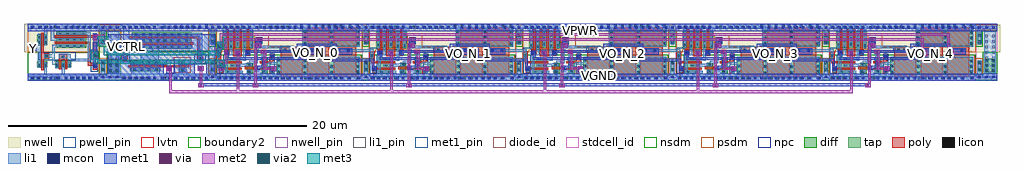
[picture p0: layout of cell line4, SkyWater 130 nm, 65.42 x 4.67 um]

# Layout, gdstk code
from math import pi, radians
import gdstk
lib = gdstk.Library(unit=1e-6, precision=1e-09)
def R(c, l, rs):  # rectangles x0, y0, x1, y1
    for r in rs: c.add(gdstk.rectangle(r[:2], r[2:], *l))
def A(c, l, x, y, w, h, nx, ny, dx, dy):  # array of equal rectangles
    R(c, l, [(x+i*dx, y+j*dy, x+i*dx+w, y+j*dy+h) for i in range(nx) for j in range(ny)])
def P(c, l, *ps):  # polygons
    for p in ps: c.add(gdstk.Polygon(p, *l))
nwell_pin = (64, 16)
nwell = (64, 20)
diff = (65, 20)
tap = (65, 44)
poly = (66, 20)
licon = (66, 44)
li1_pin = (67, 16)
li1 = (67, 20)
mcon = (67, 44)
met1_pin = (68, 16)
met1 = (68, 20)
via = (68, 44)
met2 = (69, 20)
via2 = (69, 44)
met3 = (70, 20)
stdcell_id = (81, 4)
diode_id = (81, 23)
nsdm = (93, 44)
psdm = (94, 20)
npc = (95, 20)
pwell_pin = (122, 16)
lvtn = (125, 44)
boundary2 = (236, 0)

sky130_fd_sc_hs__tapvpwr = lib.new_cell('sky130_fd_sc_hs__tapvpwrvgnd_1')
R(sky130_fd_sc_hs__tapvpwr, nwell, [(-0.19,1.66,0.67,3.52)])
R(sky130_fd_sc_hs__tapvpwr, tap, [(0.155,0.32,0.325,1.145), (0.155,2.17,0.325,3.01)])
R(sky130_fd_sc_hs__tapvpwr, licon, [(0.155,0.44,0.325,0.61), (0.155,0.855,0.325,1.025), (0.155,2.29,0.325,2.46), (0.155,2.72,0.325,2.89)])
P(sky130_fd_sc_hs__tapvpwr, li1, [(0,-0.085),(0,0.085),(0.09,0.085),(0.09,1.105),(0.39,1.105),(0.39,0.085),(0.48,0.085),(0.48,-0.085)],
  [(0.09,2.205),(0.09,3.245),(0,3.245),(0,3.415),(0.48,3.415),(0.48,3.245),(0.39,3.245),(0.39,2.205)])
R(sky130_fd_sc_hs__tapvpwr, mcon, [(0.155,-0.085,0.325,0.085), (0.155,3.245,0.325,3.415)])
R(sky130_fd_sc_hs__tapvpwr, met1_pin, [(0,0,0.48,0.245), (0,3.085,0.48,3.33)])
R(sky130_fd_sc_hs__tapvpwr, met1, [(0,-0.245,0.48,0.245), (0,3.085,0.48,3.575)])
R(sky130_fd_sc_hs__tapvpwr, stdcell_id, [(0,0,0.48,3.33)])
R(sky130_fd_sc_hs__tapvpwr, nsdm, [(0,-0.19,0.48,0.19), (0,2.04,0.48,3.14)])
R(sky130_fd_sc_hs__tapvpwr, psdm, [(0,0.19,0.48,1.275), (0,3.14,0.48,3.52)])
R(sky130_fd_sc_hs__tapvpwr, boundary2, [(0,0,0.48,3.33)])
sky130_fd_sc_hs__tapvpwr.add(gdstk.Label('tapvpwrvgnd_1', (0,0), layer=83, texttype=44))
sky130_fd_sc_hs__tapvpwr.add(gdstk.Label('VPWR', (0.24,3.208), layer=68, texttype=5))
sky130_fd_sc_hs__tapvpwr.add(gdstk.Label('VGND', (0.24,0.123), layer=68, texttype=5))

dly4 = lib.new_cell('dly4')
R(dly4, nwell_pin, [(-1.6,3.085,8.2,3.33)])
R(dly4, nwell, [(-1.8,1.7,8.2,3.59), (-1.455,1.7,9.405,3.59)])
R(dly4, diff, [(2.46,0.17,8.05,1.32), (1.45,0.215,1.87,1.335), (-0.99,0.225,-0.005,1.34), (0.465,0.27,0.885,0.96), (-1.15,1.975,0.9,3.075), (4.175,2.105,8.05,3.17)])
R(dly4, poly, [(2.725,0.04,4.225,1.75), (4.505,0.04,6.005,1.62), (6.285,0.04,7.785,1.62), (1.96,0.265,2.345,0.64), (-1.415,0.295,-1.125,0.685), (-1.375,0.37,-1.18,0.66), (-1.415,0.425,-1.125,0.7), (1.32,0.49,1.995,0.64), (-1.395,0.495,0.125,0.645), (0.335,0.545,1.11,0.695), (0.96,0.645,1.11,1.045), (1.32,0.92,2.1,1.07), (1.965,0.92,2.145,1.16), (-1.465,0.925,0.125,1.075), (-1.465,0.975,-1.25,1.755), (0.96,1.025,1.11,1.795), (2,1.07,2.28,1.585), (-1.595,1.29,-1.28,1.735), (-0.455,1.415,0.13,1.66), (0.355,1.45,0.685,1.875), (-0.995,1.465,-0.67,1.86), (4.505,1.5,6.005,3.3), (6.285,1.5,7.785,3.3), (-0.27,1.52,-0.08,1.795), (0.36,1.525,0.605,1.78), (-0.445,1.535,0.09,1.9), (0.98,1.56,1.15,2.19), (-0.885,1.57,-0.735,3.205), (0.465,1.57,0.615,3.205), (2.775,1.59,3.71,1.995), (2.875,1.6,3.635,1.945), (-0.455,1.64,-0.305,3.205), (-0.02,1.64,0.13,3.205), (-0.445,1.69,0.09,1.84), (1.09,2.045,1.205,2.135), (1.105,2.115,1.435,2.66), (1.03,2.175,1.275,2.37), (1.085,2.37,1.36,2.56)])
R(dly4, licon, [(-1.5,-0.135,-1.33,0.035), (-1.1,-0.135,-0.93,0.035), (-0.695,-0.135,-0.525,0.035), (-0.285,-0.135,-0.115,0.035), (0.08,-0.135,0.25,0.035), (0.565,-0.135,0.735,0.035), (1.29,-0.135,1.46,0.035), (1.94,-0.135,2.11,0.035), (2.345,-0.135,2.515,0.035), (2.755,-0.135,2.925,0.035), (3.12,-0.135,3.29,0.035), (3.605,-0.135,3.775,0.035), (4.31,-0.135,4.48,0.035), (4.7,-0.135,4.87,0.035), (5.15,-0.135,5.32,0.035), (5.5,-0.135,5.67,0.035), (5.885,-0.135,6.055,0.035), (6.29,-0.135,6.46,0.035), (6.7,-0.135,6.87,0.035), (7.205,-0.135,7.375,0.035), (7.84,-0.135,8.01,0.035), (4.28,0.21,4.45,0.38), (6.06,0.235,6.23,0.405), (2.5,0.25,2.67,0.42), (1.535,0.265,1.705,0.435), (-0.875,0.27,-0.705,0.44), (-0.32,0.27,-0.15,0.44), (7.84,0.28,8.01,0.45), (0.535,0.31,0.705,0.48), (2.08,0.315,2.25,0.485), (-1.36,0.42,-1.19,0.59), (4.28,0.62,4.45,0.79), (7.84,0.62,8.01,0.79), (6.06,0.635,6.23,0.805), (2.5,0.655,2.67,0.825), (1.58,0.695,1.75,0.865), (-0.575,0.7,-0.405,0.87), (-0.235,0.7,-0.065,0.87), (0.555,0.75,0.725,0.92), (7.84,1.015,8.01,1.185), (4.28,1.045,4.45,1.215), (6.06,1.065,6.23,1.235), (2.5,1.075,2.67,1.245), (1.51,1.125,1.68,1.295), (-0.575,1.13,-0.405,1.3), (-0.235,1.13,-0.065,1.3), (2.06,1.33,2.23,1.5), (-1.51,1.38,-1.34,1.55), (-0.92,1.57,-0.75,1.74), (-0.255,1.57,-0.085,1.74), (0.445,1.57,0.615,1.74), (4.745,1.7,4.915,1.87), (5.35,1.7,5.52,1.87), (6.555,1.7,6.725,1.87), (7.16,1.7,7.33,1.87), (2.945,1.73,3.115,1.9), (3.33,1.73,3.5,1.9), (-0.68,2.02,-0.51,2.19), (0.225,2.02,0.395,2.19), (0.685,2.05,0.855,2.22), (-1.11,2.065,-0.94,2.235), (-0.25,2.14,-0.08,2.31), (4.265,2.155,4.435,2.325), (7.84,2.185,8.01,2.355), (6.06,2.205,6.23,2.375), (1.18,2.375,1.35,2.545), (-0.68,2.38,-0.51,2.55), (0.225,2.385,0.395,2.555), (-1.11,2.44,-0.94,2.61), (0.685,2.44,0.855,2.61), (-0.25,2.51,-0.08,2.68), (7.84,2.545,8.01,2.715), (4.265,2.555,4.435,2.725), (6.06,2.575,6.23,2.745), (0.225,2.76,0.395,2.93), (-0.68,2.765,-0.51,2.935), (-1.11,2.82,-0.94,2.99), (0.685,2.825,0.855,2.995), (-0.25,2.855,-0.08,3.025), (6.06,2.92,6.23,3.09), (7.84,2.92,8.01,3.09), (4.265,2.945,4.435,3.115), (-1.5,3.265,-1.33,3.435), (-1.1,3.265,-0.93,3.435), (-0.695,3.265,-0.525,3.435), (-0.285,3.265,-0.115,3.435), (0.08,3.265,0.25,3.435), (0.565,3.265,0.735,3.435), (1.29,3.265,1.46,3.435), (1.94,3.265,2.11,3.435), (2.345,3.265,2.515,3.435), (2.755,3.265,2.925,3.435), (3.12,3.265,3.29,3.435), (3.605,3.265,3.775,3.435), (4.05,3.33,4.22,3.5), (4.535,3.33,4.705,3.5), (5.015,3.33,5.185,3.5), (5.5,3.33,5.67,3.5), (5.885,3.33,6.055,3.5), (6.29,3.33,6.46,3.5), (6.7,3.33,6.87,3.5), (7.285,3.33,7.455,3.5), (7.8,3.33,7.97,3.5)])
R(dly4, li1_pin, [(-1.525,1.335,-1.34,1.67)])
R(dly4, li1, [(-1.6,-0.245,8.2,0.095), (-2.08,-0.07,-1.53,0.14), (2.5,-0.07,8.035,1.38), (0.535,0.065,0.705,0.48), (-1.005,0.265,0.19,0.44), (1.35,0.265,1.785,0.435), (2.14,0.28,2.33,0.65), (2,0.29,2.33,0.515), (0.445,0.3,0.785,0.485), (1.02,0.32,1.245,0.75), (1.065,0.32,1.395,0.505), (-1.375,0.33,-1.18,0.67), (-1.005,0.388,-0.825,1.765), (1.35,0.4,1.76,0.505), (1.435,0.695,1.785,0.865), (1.52,0.695,1.965,0.865), (1.805,0.695,1.97,0.94), (-0.655,0.7,0.285,0.87), (0.09,0.74,0.605,0.91), (0.53,0.74,0.795,0.91), (0.405,0.745,0.82,0.94), (1.875,0.76,2.005,0.95), (1.995,0.805,2.02,0.83), (1.94,0.82,2.68,0.99), (1.895,0.93,1.94,0.96), (0.64,0.94,1.21,1.115), (1.92,0.95,1.955,0.97), (1,1.08,1.21,1.845), (0.225,1.11,0.395,1.855), (1.395,1.12,1.805,1.325), (-0.655,1.13,0.29,1.3), (2.055,1.25,2.23,1.59), (1.47,1.26,1.655,1.7), (-1.53,1.295,-1.335,1.635), (-1.53,1.365,-1.335,1.735), (-0.34,1.47,0.005,1.705), (-0.955,1.485,-0.51,1.68), (0.3,1.54,0.44,1.735), (0.395,1.54,0.705,1.77), (-0.82,1.55,-0.51,1.775), (1.435,1.6,1.81,1.77), (1.075,1.645,1.25,2.035), (0.225,1.65,0.465,1.81), (-1.005,1.655,-0.665,1.775), (0.225,1.665,0.395,1.915), (-0.34,1.695,0.005,1.85), (2.81,1.7,3.625,1.905), (4.575,1.7,5.675,1.875), (6.385,1.7,7.485,1.875), (-0.68,1.75,-0.51,3.065), (0.225,1.755,0.395,3.065), (2.81,1.9,3.625,2.105), (1.075,1.94,1.645,2.11), (1.48,1.94,3.09,2.11), (-1.115,1.95,-0.915,3.265), (0.685,1.95,0.855,3.265), (4.175,2.05,8.03,3.305), (-0.25,2.06,-0.08,3.28), (1.09,2.345,1.435,2.585), (-2.08,3.235,-1.55,3.575), (-1.6,3.235,8.2,3.59)])
A(dly4, mcon, 4.055, -0.15, 0.17, 0.17, 4, 2, 0.48, 3.395)
R(dly4, mcon, [(-1.425,-0.15,-1.255,0.02), (-1.425,-0.15,-1.255,0.02), (-1.025,-0.15,-0.855,0.02), (-1.025,-0.15,-0.855,0.02), (-0.62,-0.15,-0.45,0.02), (-0.62,-0.15,-0.45,0.02), (-0.215,-0.15,-0.045,0.02), (-0.215,-0.15,-0.045,0.02), (0.19,-0.15,0.36,0.02), (0.19,-0.15,0.36,0.02), (0.56,-0.15,0.73,0.02), (0.56,-0.15,0.73,0.02), (1.07,-0.15,1.24,0.02), (1.55,-0.15,1.72,0.02), (1.55,-0.15,1.72,0.02), (2.015,-0.15,2.185,0.02), (2.015,-0.15,2.185,0.02), (2.42,-0.15,2.59,0.02), (2.42,-0.15,2.59,0.02), (2.825,-0.15,2.995,0.02), (2.825,-0.15,2.995,0.02), (3.23,-0.15,3.4,0.02), (3.23,-0.15,3.4,0.02), (3.6,-0.15,3.77,0.02), (3.6,-0.15,3.77,0.02), (5.495,-0.15,5.665,0.02), (5.96,-0.15,6.13,0.02), (5.96,-0.15,6.13,0.02), (6.365,-0.15,6.535,0.02), (6.365,-0.15,6.535,0.02), (6.77,-0.15,6.94,0.02), (6.77,-0.15,6.94,0.02), (7.275,-0.15,7.445,0.02), (7.275,-0.15,7.445,0.02), (7.91,-0.15,8.08,0.02), (7.91,-0.15,8.08,0.02), (2.155,0.45,2.325,0.62), (-1.36,0.47,-1.19,0.64), (1.04,0.495,1.21,0.665), (2.06,1.265,2.23,1.435), (-0.985,1.53,-0.815,1.7), (-0.255,1.535,-0.085,1.705), (0.41,1.57,0.58,1.74), (1.475,1.6,1.645,1.77), (4.74,1.7,4.91,1.87), (5.385,1.7,5.555,1.87), (6.55,1.7,6.72,1.87), (7.195,1.705,7.365,1.875), (1.18,2.38,1.35,2.55), (5.935,3.245,6.105,3.415), (6.375,3.245,6.545,3.415), (6.81,3.245,6.98,3.415), (7.395,3.245,7.565,3.415), (7.91,3.245,8.08,3.415), (-1.44,3.25,-1.27,3.42), (-1.025,3.25,-0.855,3.42), (-1.025,3.25,-0.855,3.42), (-1.025,3.25,-0.855,3.42), (-0.62,3.25,-0.45,3.42), (-0.62,3.25,-0.45,3.42), (-0.215,3.25,-0.045,3.42), (-0.215,3.25,-0.045,3.42), (0.19,3.25,0.36,3.42), (0.19,3.25,0.36,3.42), (0.56,3.25,0.73,3.42), (0.56,3.25,0.73,3.42), (1.07,3.25,1.24,3.42), (1.55,3.25,1.72,3.42), (1.55,3.25,1.72,3.42), (2.015,3.25,2.185,3.42), (2.015,3.25,2.185,3.42), (2.42,3.25,2.59,3.42), (2.42,3.25,2.59,3.42), (2.825,3.25,2.995,3.42), (2.825,3.25,2.995,3.42), (3.23,3.25,3.4,3.42), (3.23,3.25,3.4,3.42), (3.6,3.25,3.77,3.42), (3.6,3.25,3.77,3.42)])
R(dly4, met1_pin, [(-1.6,0,8.2,0.245), (-1.43,0.42,-1.11,0.72), (-0.355,1.475,0.005,1.775), (4.53,1.495,5.735,1.945), (6.315,1.5,7.52,1.95), (1.045,2.04,1.345,2.36), (-1.6,3.085,8.2,3.33)])
R(dly4, met1, [(-1.6,-0.245,8.2,0.245), (2.08,0.41,2.43,0.72), (-1.43,0.42,-1.11,0.72), (0.95,0.45,1.3,0.76), (1.195,0.59,1.665,0.76), (1.49,0.59,1.66,1.175), (-0.91,1.165,4.6,1.335), (4.53,1.165,4.7,1.5), (-0.91,1.225,-0.74,1.505), (1.995,1.275,2.31,1.49), (-1.06,1.475,-0.74,1.775), (-0.355,1.475,0.005,1.775), (0.37,1.475,0.69,1.775), (4.53,1.495,5.735,1.945), (6.315,1.5,7.52,1.95), (1.405,1.56,1.765,1.83), (0.37,1.635,3.86,1.805), (3.8,1.635,3.97,2.14), (6.315,1.8,6.485,2.155), (1.045,2.04,1.345,2.62), (1.195,2.04,1.435,2.62), (3.8,2.085,6.485,2.255), (-1.6,3.085,8.2,3.575)])
R(dly4, via, [(2.165,0.505,2.315,0.655), (1.52,1.62,1.67,1.77)])
R(dly4, met2, [(2.08,0.415,2.43,0.725), (1.57,0.49,1.97,0.66), (1.89,0.49,2.145,0.66), (1.57,0.565,1.76,1.605), (1.405,1.56,1.765,1.83)])
R(dly4, nsdm, [(-1.6,-0.245,8.2,1.51)])
P(dly4, psdm, [(-1.6,1.66),(-1.6,3.575),(8.2,3.575),(8.2,1.66),(7.73,1.66),(7.73,2.02),(1.915,2.02),(1.915,2.775),(0.985,2.775),(0.985,1.885),(-1.165,1.885),(-1.165,1.66)])
R(dly4, npc, [(-1.565,0.245,-1.07,1.96), (1.995,0.26,2.265,0.535), (2,0.28,2.33,1.585), (2.025,1.265,2.295,1.54), (-1.525,1.28,-1.28,1.63), (-1.095,1.46,0.68,1.825), (2.665,1.655,3.735,2.055), (4.65,1.66,5.575,1.93), (6.46,1.66,7.385,1.93), (1.06,2.22,1.495,2.69)])
R(dly4, pwell_pin, [(-1.6,0,8.2,0.245)])
R(dly4, lvtn, [(-1.34,0.035,8.14,1.505)])
dly4.add(gdstk.Reference(sky130_fd_sc_hs__tapvpwr, (-2.08,0)))
dly4.add(gdstk.Label('VO_P', (6.915,1.75), layer=68, texttype=5))
dly4.add(gdstk.Label('VO_N', (5,1.705), layer=68, texttype=5))
dly4.add(gdstk.Label('BP', (-0.2,1.5), layer=68, texttype=5))
dly4.add(gdstk.Label('BN', (1.275,2.19), layer=68, texttype=5))
dly4.add(gdstk.Label('VI_P', (-1.26,0.445), layer=68, texttype=5))
dly4.add(gdstk.Label('VGND', (5.935,0.055), layer=68, texttype=5))
dly4.add(gdstk.Label('VPWR', (5.935,3.208), layer=68, texttype=5))
dly4.add(gdstk.Label('VNB', (5.935,0.055), layer=64, texttype=59))
dly4.add(gdstk.Label('VI_N', (-1.405,1.6), layer=67, texttype=5))

sky130_fd_sc_hs__diode_2 = lib.new_cell('sky130_fd_sc_hs__diode_2')
R(sky130_fd_sc_hs__diode_2, nwell_pin, [(0,3.085,0.96,3.33)])
R(sky130_fd_sc_hs__diode_2, nwell, [(-0.19,1.66,1.15,3.52)])
R(sky130_fd_sc_hs__diode_2, diff, [(0.135,0.32,0.825,1.25)])
A(sky130_fd_sc_hs__diode_2, licon, 0.195, 0.36, 0.17, 0.17, 1, 3, 0, 0.34)
A(sky130_fd_sc_hs__diode_2, licon, 0.595, 0.36, 0.17, 0.17, 1, 3, 0, 0.34)
A(sky130_fd_sc_hs__diode_2, li1_pin, 0.155, 0.47, 0.17, 0.17, 1, 7, 0, 0.37)
A(sky130_fd_sc_hs__diode_2, li1_pin, 0.635, 0.47, 0.17, 0.17, 1, 7, 0, 0.37)
R(sky130_fd_sc_hs__diode_2, li1, [(0,-0.085,0.96,0.085), (0.095,0.265,0.865,3.065), (0,3.245,0.96,3.415)])
R(sky130_fd_sc_hs__diode_2, mcon, [(0.155,-0.085,0.325,0.085), (0.635,-0.085,0.805,0.085), (0.155,3.245,0.325,3.415), (0.635,3.245,0.805,3.415)])
R(sky130_fd_sc_hs__diode_2, met1_pin, [(0,0,0.96,0.245), (0,3.085,0.96,3.33)])
R(sky130_fd_sc_hs__diode_2, met1, [(0,-0.245,0.96,0.245), (0,3.085,0.96,3.575)])
R(sky130_fd_sc_hs__diode_2, stdcell_id, [(0,0,0.96,3.33)])
R(sky130_fd_sc_hs__diode_2, diode_id, [(0.135,0.32,0.825,1.25)])
R(sky130_fd_sc_hs__diode_2, nsdm, [(0,-0.19,0.96,1.66)])
R(sky130_fd_sc_hs__diode_2, psdm, [(0,3.14,0.96,3.52)])
R(sky130_fd_sc_hs__diode_2, pwell_pin, [(0,0,0.96,0.245)])
R(sky130_fd_sc_hs__diode_2, boundary2, [(0,0,0.96,3.33)])
sky130_fd_sc_hs__diode_2.add(gdstk.Label('diode_2', (0,0), layer=83, texttype=44))
sky130_fd_sc_hs__diode_2.add(gdstk.Label('VPWR', (0.48,3.208), layer=68, texttype=5))
sky130_fd_sc_hs__diode_2.add(gdstk.Label('VGND', (0.48,0.123), layer=68, texttype=5))
sky130_fd_sc_hs__diode_2.add(gdstk.Label('VNB', (0.48,0.123), layer=64, texttype=59))
sky130_fd_sc_hs__diode_2.add(gdstk.Label('VPB', (0.48,3.208), layer=64, texttype=5))
sky130_fd_sc_hs__diode_2.add(gdstk.Label('DIODE', (0.24,2.405), layer=67, texttype=5))
sky130_fd_sc_hs__diode_2.add(gdstk.Label('DIODE', (0.72,0.925), layer=67, texttype=5))
sky130_fd_sc_hs__diode_2.add(gdstk.Label('DIODE', (0.72,2.405), layer=67, texttype=5))
sky130_fd_sc_hs__diode_2.add(gdstk.Label('DIODE', (0.24,0.555), layer=67, texttype=5))
sky130_fd_sc_hs__diode_2.add(gdstk.Label('DIODE', (0.72,1.295), layer=67, texttype=5))
sky130_fd_sc_hs__diode_2.add(gdstk.Label('DIODE', (0.24,1.665), layer=67, texttype=5))
sky130_fd_sc_hs__diode_2.add(gdstk.Label('DIODE', (0.24,1.295), layer=67, texttype=5))
sky130_fd_sc_hs__diode_2.add(gdstk.Label('DIODE', (0.24,0.925), layer=67, texttype=5))
sky130_fd_sc_hs__diode_2.add(gdstk.Label('DIODE', (0.72,0.555), layer=67, texttype=5))
sky130_fd_sc_hs__diode_2.add(gdstk.Label('DIODE', (0.24,2.775), layer=67, texttype=5))
sky130_fd_sc_hs__diode_2.add(gdstk.Label('DIODE', (0.24,2.035), layer=67, texttype=5))
sky130_fd_sc_hs__diode_2.add(gdstk.Label('DIODE', (0.72,1.665), layer=67, texttype=5))
sky130_fd_sc_hs__diode_2.add(gdstk.Label('DIODE', (0.72,2.775), layer=67, texttype=5))
sky130_fd_sc_hs__diode_2.add(gdstk.Label('DIODE', (0.72,2.035), layer=67, texttype=5))

dly_bias4 = lib.new_cell('dly_bias4')
R(dly_bias4, nwell_pin, [(-1.6,3.085,4.3,3.33)])
R(dly_bias4, nwell, [(-1.8,1.66,4.5,3.59)])
R(dly_bias4, diff, [(2.305,0.38,2.725,1.105), (-0.965,0.405,1.035,1.085), (-0.865,1.91,3.135,3.005)])
R(dly_bias4, poly, [(1.45,0.39,1.825,0.7), (1.545,0.445,1.74,0.815), (1.54,0.46,1.695,0.815), (-1.095,0.665,3,0.815), (1.44,0.665,1.695,0.815), (3.515,1.03,3.91,1.42), (-1.48,1.08,-1.15,1.62), (3.595,1.105,3.79,1.395), (-1.385,1.195,-1.225,1.405), (3.515,1.395,3.74,2.745), (-1.3,1.56,-1.15,2.325), (-1.2,2.175,3.265,2.325), (-1.095,2.595,3.74,2.745)])
R(dly_bias4, licon, [(-1.5,-0.135,-1.33,0.035), (-1.1,-0.135,-0.93,0.035), (-0.695,-0.135,-0.525,0.035), (-0.285,-0.135,-0.115,0.035), (0.08,-0.135,0.25,0.035), (0.565,-0.135,0.735,0.035), (1.29,-0.135,1.46,0.035), (1.94,-0.135,2.11,0.035), (2.345,-0.135,2.515,0.035), (2.755,-0.135,2.925,0.035), (3.12,-0.135,3.29,0.035), (3.605,-0.135,3.775,0.035), (-0.76,0.445,-0.59,0.615), (-0.26,0.445,-0.09,0.615), (0.195,0.445,0.365,0.615), (0.695,0.445,0.865,0.615), (2.45,0.445,2.62,0.615), (1.56,0.505,1.73,0.675), (-0.76,0.865,-0.59,1.035), (-0.26,0.865,-0.09,1.035), (0.195,0.865,0.365,1.035), (0.695,0.865,0.865,1.035), (2.45,0.87,2.62,1.04), (3.61,1.16,3.78,1.33), (-1.4,1.215,-1.23,1.385), (-0.66,1.95,-0.49,2.12), (-0.16,1.95,0.01,2.12), (0.295,1.95,0.465,2.12), (0.795,1.95,0.965,2.12), (1.26,1.95,1.43,2.12), (1.76,1.95,1.93,2.12), (2.215,1.95,2.385,2.12), (2.715,1.95,2.885,2.12), (-0.66,2.375,-0.49,2.545), (-0.16,2.375,0.01,2.545), (0.295,2.375,0.465,2.545), (0.795,2.375,0.965,2.545), (1.26,2.375,1.43,2.545), (1.76,2.375,1.93,2.545), (2.215,2.375,2.385,2.545), (2.715,2.375,2.885,2.545), (-0.66,2.795,-0.49,2.965), (-0.16,2.795,0.01,2.965), (0.295,2.795,0.465,2.965), (0.795,2.795,0.965,2.965), (1.26,2.795,1.43,2.965), (1.76,2.795,1.93,2.965), (2.215,2.795,2.385,2.965), (2.715,2.795,2.885,2.965), (-1.5,3.265,-1.33,3.435), (-1.1,3.265,-0.93,3.435), (-0.695,3.265,-0.525,3.435), (-0.285,3.265,-0.115,3.435), (0.08,3.265,0.25,3.435), (0.565,3.265,0.735,3.435), (1.29,3.265,1.46,3.435), (1.94,3.265,2.11,3.435), (2.345,3.265,2.515,3.435), (2.755,3.265,2.925,3.435), (3.12,3.265,3.29,3.435), (3.605,3.265,3.775,3.435), (4.05,3.33,4.22,3.5)])
R(dly_bias4, li1, [(-1.55,-0.245,4.3,0.14), (-1.645,-0.085,-1.49,0.085), (2.285,-0.055,2.82,0.62), (-0.9,-0.04,1.025,0.635), (1.545,0.425,1.74,0.765), (3.555,0.425,3.85,0.89), (1.545,0.755,1.74,0.9), (-0.905,0.83,1.385,1.05), (1.34,0.83,1.74,1.05), (3.605,0.84,3.85,2.585), (2.255,0.845,3.81,1.12), (-0.25,0.885,0.935,2.075), (3.595,1.08,3.79,1.42), (-1.415,1.135,-1.22,1.47), (-1.435,1.14,-1.19,2.19), (-1.815,1.855,-1.277,2.19), (-0.805,1.93,3.19,2.15), (-1.13,2.355,3.01,2.575), (-1.44,2.385,-1.05,3.36), (3.605,2.55,3.85,2.985), (-0.87,2.755,3.43,2.985), (-0.87,2.755,3.43,2.985), (3.385,2.755,3.85,2.985), (-1.6,3.235,4.3,3.59)])
R(dly_bias4, mcon, [(-1.425,-0.15,-1.255,0.02), (-1.425,-0.15,-1.255,0.02), (-1.025,-0.15,-0.855,0.02), (-1.025,-0.15,-0.855,0.02), (-0.62,-0.15,-0.45,0.02), (-0.62,-0.15,-0.45,0.02), (-0.215,-0.15,-0.045,0.02), (-0.215,-0.15,-0.045,0.02), (0.19,-0.15,0.36,0.02), (0.19,-0.15,0.36,0.02), (0.56,-0.15,0.73,0.02), (0.56,-0.15,0.73,0.02), (1.07,-0.15,1.24,0.02), (1.55,-0.15,1.72,0.02), (1.55,-0.15,1.72,0.02), (2.015,-0.15,2.185,0.02), (2.015,-0.15,2.185,0.02), (2.42,-0.15,2.59,0.02), (2.42,-0.15,2.59,0.02), (2.825,-0.15,2.995,0.02), (2.825,-0.15,2.995,0.02), (3.23,-0.15,3.4,0.02), (3.23,-0.15,3.4,0.02), (3.6,-0.15,3.77,0.02), (3.6,-0.15,3.77,0.02), (4.055,-0.15,4.225,0.02), (1.56,0.495,1.73,0.665), (3.61,0.495,3.78,0.665), (-1.36,1.97,-1.19,2.14), (4.055,3.245,4.225,3.415), (-1.44,3.25,-1.27,3.42), (-1.025,3.25,-0.855,3.42), (-1.025,3.25,-0.855,3.42), (-1.025,3.25,-0.855,3.42), (-0.62,3.25,-0.45,3.42), (-0.62,3.25,-0.45,3.42), (-0.215,3.25,-0.045,3.42), (-0.215,3.25,-0.045,3.42), (0.19,3.25,0.36,3.42), (0.19,3.25,0.36,3.42), (0.56,3.25,0.73,3.42), (0.56,3.25,0.73,3.42), (1.07,3.25,1.24,3.42), (1.55,3.25,1.72,3.42), (1.55,3.25,1.72,3.42), (2.015,3.25,2.185,3.42), (2.015,3.25,2.185,3.42), (2.42,3.25,2.59,3.42), (2.42,3.25,2.59,3.42), (2.825,3.25,2.995,3.42), (2.825,3.25,2.995,3.42), (3.23,3.25,3.4,3.42), (3.23,3.25,3.4,3.42), (3.6,3.25,3.77,3.42), (3.6,3.25,3.77,3.42)])
R(dly_bias4, met1_pin, [(-1.6,0,4.3,0.245), (3.54,0.42,3.86,0.72), (1.49,0.445,1.81,0.745), (-1.43,1.905,-1.11,2.205), (-1.6,3.085,4.3,3.33)])
R(dly_bias4, met1, [(-1.6,-0.245,4.3,0.245), (3.54,0.42,3.86,0.72), (1.49,0.445,1.81,0.745), (-1.43,1.905,-1.11,2.205), (-1.6,3.085,4.3,3.575)])
R(dly_bias4, stdcell_id, [(-1.6,0,4.3,3.33)])
R(dly_bias4, nsdm, [(-1.6,-0.22,4.3,1.66)])
R(dly_bias4, psdm, [(-1.6,1.66,4.3,3.59)])
R(dly_bias4, npc, [(1.45,0.27,2.015,1.13), (3.305,0.88,4.095,1.555), (-1.57,1.03,-0.985,1.54)])
R(dly_bias4, pwell_pin, [(-1.6,0,4.3,0.245)])
R(dly_bias4, lvtn, [(1.95,0.31,3.085,1.345)])
dly_bias4.add(gdstk.Reference(sky130_fd_sc_hs__diode_2, (-2.56,0)))
dly_bias4.add(gdstk.Label('VCTRL', (-1.29,1.245), layer=68, texttype=5))
dly_bias4.add(gdstk.Label('VCTRL', (-1.33,2.01), layer=68, texttype=5))
dly_bias4.add(gdstk.Label('BN', (3.71,0.525), layer=68, texttype=5))
dly_bias4.add(gdstk.Label('BP', (1.66,0.525), layer=68, texttype=5))
dly_bias4.add(gdstk.Label('VGND', (3.355,0.055), layer=68, texttype=5))
dly_bias4.add(gdstk.Label('VPWR', (2.635,3.208), layer=68, texttype=5))
dly_bias4.add(gdstk.Label('VNB', (2.81,0.055), layer=64, texttype=59))
dly_bias4.add(gdstk.Label('VPB', (2.855,3.208), layer=64, texttype=5))

dly_out4 = lib.new_cell('dly_out4')
R(dly_out4, nwell_pin, [(-1.6,3.085,3.2,3.33)])
R(dly_out4, nwell, [(-1.8,1.66,3.2,3.59), (-1.8,1.66,3.45,3.59)])
R(dly_out4, diff, [(1.875,0.655,2.55,1.075), (0.28,0.67,1.37,1.09), (-0.725,1.97,1.275,3.065), (1.875,2.135,2.55,2.835)])
R(dly_out4, poly, [(2.14,0.48,2.29,2.97), (-1.485,0.505,-1.155,0.965), (0.54,0.54,0.69,1.335), (0.96,0.54,1.11,1.335), (-1.415,0.62,-1.22,0.91), (-1.395,0.705,-1.24,0.965), (-1.24,0.78,-0.81,0.965), (-0.99,0.78,-0.81,2.38), (0.54,1.17,1.1,1.425), (0.54,1.17,1.1,1.425), (-1.565,1.22,-1.215,1.515), (-1.48,1.22,-1.32,1.535), (1.75,1.235,2.145,1.61), (0.54,1.27,1.1,1.53), (1.81,1.275,2.2,1.555), (-1.405,1.5,-1.235,2.743), (-0.99,2.23,1.405,2.38), (-1.405,2.655,1.405,2.805)])
R(dly_out4, licon, [(-1.5,-0.135,-1.33,0.035), (-1.1,-0.135,-0.93,0.035), (-0.695,-0.135,-0.525,0.035), (-0.285,-0.135,-0.115,0.035), (0.08,-0.135,0.25,0.035), (0.565,-0.135,0.735,0.035), (1.29,-0.135,1.46,0.035), (1.94,-0.135,2.11,0.035), (2.345,-0.135,2.515,0.035), (2.755,-0.135,2.925,0.035), (-1.4,0.675,-1.23,0.845), (1.16,0.735,1.33,0.905), (1.915,0.74,2.085,0.91), (2.34,0.74,2.51,0.91), (0.32,0.745,0.49,0.915), (0.74,0.745,0.91,0.915), (0.74,1.28,0.91,1.45), (-1.485,1.29,-1.315,1.46), (1.845,1.33,2.015,1.5), (-0.485,2.01,-0.315,2.18), (-0.035,2.01,0.135,2.18), (0.45,2.01,0.62,2.18), (0.955,2.01,1.125,2.18), (1.915,2.23,2.085,2.4), (2.34,2.23,2.51,2.4), (-0.48,2.43,-0.31,2.6), (-0.025,2.43,0.145,2.6), (0.45,2.43,0.62,2.6), (0.965,2.43,1.135,2.6), (1.915,2.58,2.085,2.75), (2.34,2.58,2.51,2.75), (-0.58,2.855,-0.41,3.025), (-0.025,2.855,0.145,3.025), (0.445,2.855,0.615,3.025), (0.965,2.855,1.135,3.025), (-1.5,3.265,-1.33,3.435), (-1.1,3.265,-0.93,3.435), (-0.695,3.265,-0.525,3.435), (-0.285,3.265,-0.115,3.435), (0.08,3.265,0.25,3.435), (0.565,3.265,0.735,3.435), (1.29,3.265,1.46,3.435), (1.855,3.265,2.025,3.435), (2.26,3.265,2.43,3.435), (2.755,3.265,2.925,3.435)])
R(dly_out4, li1, [(-1.6,-0.245,3.2,0.14), (0.735,0,0.93,0.99), (1.91,0.125,2.105,1), (-1.415,0.595,-1.22,0.935), (0.735,0.6,0.93,1.015), (1.91,0.6,2.105,1.015), (1.15,0.605,1.345,1.02), (0.305,0.63,0.5,1.53), (2.325,0.64,2.52,2.9), (1.255,0.85,1.47,1.02), (1.375,0.85,1.555,2.185), (-1.015,1.07,0.44,1.24), (-1.505,1.2,-1.31,1.54), (-1.015,1.2,-0.835,2.955), (-1.415,1.22,-1.185,2.96), (0.48,1.26,1.125,1.58), (1.54,1.315,2.095,1.54), (2.46,1.745,2.925,2.09), (2.37,1.79,2.705,2.045), (-0.6,2.005,1.38,2.18), (1.9,2.13,2.095,3.43), (-0.595,2.43,1.56,2.605), (1.425,2.43,1.67,3.285), (-1.015,2.85,1.25,3.025), (-1.6,3.235,3.2,3.59)])
R(dly_out4, mcon, [(-1.425,-0.15,-1.255,0.02), (-1.425,-0.15,-1.255,0.02), (-1.025,-0.15,-0.855,0.02), (-1.025,-0.15,-0.855,0.02), (-0.62,-0.15,-0.45,0.02), (-0.62,-0.15,-0.45,0.02), (-0.215,-0.15,-0.045,0.02), (-0.215,-0.15,-0.045,0.02), (0.19,-0.15,0.36,0.02), (0.19,-0.15,0.36,0.02), (0.56,-0.15,0.73,0.02), (0.56,-0.15,0.73,0.02), (1.07,-0.15,1.24,0.02), (1.55,-0.15,1.72,0.02), (1.55,-0.15,1.72,0.02), (2.015,-0.15,2.185,0.02), (2.015,-0.15,2.185,0.02), (2.42,-0.15,2.59,0.02), (2.42,-0.15,2.59,0.02), (2.825,-0.15,2.995,0.02), (2.825,-0.15,2.995,0.02), (-1.4,0.69,-1.23,0.86), (2.72,1.83,2.89,2), (-1.4,2.715,-1.23,2.885), (-1.44,3.25,-1.27,3.42), (-1.025,3.25,-0.855,3.42), (-1.025,3.25,-0.855,3.42), (-1.025,3.25,-0.855,3.42), (-0.62,3.25,-0.45,3.42), (-0.62,3.25,-0.45,3.42), (-0.215,3.25,-0.045,3.42), (-0.215,3.25,-0.045,3.42), (0.19,3.25,0.36,3.42), (0.19,3.25,0.36,3.42), (0.56,3.25,0.73,3.42), (0.56,3.25,0.73,3.42), (1.07,3.25,1.24,3.42), (1.55,3.25,1.72,3.42), (1.55,3.25,1.72,3.42), (1.93,3.25,2.1,3.42), (1.93,3.25,2.1,3.42), (2.335,3.25,2.505,3.42), (2.335,3.25,2.505,3.42), (2.825,3.25,2.995,3.42), (2.825,3.25,2.995,3.42)])
R(dly_out4, met1_pin, [(-1.6,0,3.2,0.245), (2.645,1.775,2.965,2.075), (-1.47,2.04,-1.15,2.34), (-1.47,2.62,-1.15,2.92), (-1.6,3.085,3.2,3.33)])
R(dly_out4, met1, [(-1.6,-0.245,3.2,0.245), (-1.47,0.64,-1.15,0.94), (-1.37,0.87,-1.155,2.11), (2.645,1.775,2.965,2.075), (-1.47,2.04,-1.15,2.34), (-1.47,2.62,-1.15,2.92), (-1.6,3.085,3.2,3.575)])
R(dly_out4, stdcell_id, [(-1.6,0,3.2,3.33)])
R(dly_out4, nsdm, [(-1.6,-0.22,3.2,1.66)])
R(dly_out4, psdm, [(-1.6,1.66,3.2,3.59)])
R(dly_out4, npc, [(-1.505,0.35,-1.025,1.84), (-0.025,1.14,2.47,1.66), (0.315,1.14,1.18,1.545), (1.65,1.215,2.135,1.645)])
R(dly_out4, pwell_pin, [(-1.6,0,3.2,0.245)])
dly_out4.add(gdstk.Label('P', (-1.385,1.355), layer=68, texttype=5))
dly_out4.add(gdstk.Label('N', (-1.3,0.695), layer=68, texttype=5))
dly_out4.add(gdstk.Label('VGND', (1.01,0.055), layer=68, texttype=5))
dly_out4.add(gdstk.Label('VPWR', (0.92,3.22), layer=68, texttype=5))
dly_out4.add(gdstk.Label('Y', (2.78,1.905), layer=68, texttype=5))
dly_out4.add(gdstk.Label('VNB', (1.07,0.055), layer=64, texttype=59))
dly_out4.add(gdstk.Label('VBP', (0.885,3.285), layer=64, texttype=5))

line4 = lib.new_cell('line4')
R(line4, nwell, [(-9.045,1.345,-8.74,3.275), (-2.66,1.35,-2.435,3.275), (-9.985,3.015,-8.845,3.275)])
R(line4, li1, [(7.175,-0.28,7.565,-0.175), (17.52,-0.28,17.815,-0.175), (-10.2,-0.275,-9.975,-0.175), (38.26,-0.275,38.83,-0.175), (27.835,-0.255,28.09,-0.175), (48.355,-0.245,48.595,-0.17), (48.57,-0.245,48.715,-0.17), (38.095,-0.24,38.31,-0.175), (6.68,1.39,8.25,1.56), (16.95,1.39,18.53,1.56), (27.235,1.39,28.81,1.56), (37.505,1.395,39.09,1.565), (-2.23,1.41,-1.995,1.88), (-10.15,2.92,-10.02,2.96), (-9.175,2.92,-8.68,2.955), (38.315,2.92,38.855,2.965), (48.465,2.92,49.09,3.025)])
R(line4, mcon, [(-2.185,1.675,-2.015,1.845)])
R(line4, met1_pin, [(-14.695,1.46,-14.375,1.76), (-8.52,1.59,-8.2,1.89)])
A(line4, met1, 18.42, 0.25, 0.17, 0.68, 3, 1, 10.28, 0)
A(line4, met1, 0.335, 1.655, 0.3, 0.115, 5, 1, 10.28, 0)
R(line4, met1, [(-3.51,-0.995,-3.14,-0.735), (0.16,-0.995,0.53,-0.735), (10.45,-0.995,10.82,-0.735), (20.695,-0.995,21.065,-0.735), (30.97,-0.995,31.34,-0.735), (41.195,-0.99,41.565,-0.73), (-3.34,-0.93,41.3,-0.73), (-5.135,-0.37,-3.725,0.625), (-7.96,-0.275,-5.82,2.56), (-8.88,-0.21,-7.565,1.45), (-9.55,-0.18,-8.665,2.56), (-2.955,-0.14,-2.37,0.655), (-5.64,0.09,-5.28,0.38), (-3.545,0.105,-3.14,0.405), (-2.14,0.11,-1.82,0.505), (8.14,0.24,8.31,0.93), (-6.155,0.57,-2.37,2.565), (4.83,0.76,5.025,1.26), (4.92,0.76,8.16,0.93), (15.1,0.76,15.295,1.26), (15.19,0.76,18.43,0.93), (25.385,0.76,25.58,1.26), (25.475,0.76,28.715,0.93), (35.66,0.76,35.855,1.26), (35.75,0.76,38.99,0.93), (-10.585,1.005,-10.265,1.34), (-2.205,1.285,-2.035,1.575), (-10.585,1.3,-10.265,1.865), (-2.23,1.545,-1.91,1.965), (-8.785,2.1,-7.87,2.56), (-10.58,2.21,-10.245,2.53)])
R(line4, via, [(-3.4,-0.94,-3.25,-0.79), (0.27,-0.94,0.42,-0.79), (10.56,-0.94,10.71,-0.79), (20.805,-0.94,20.955,-0.79), (31.08,-0.94,31.23,-0.79), (41.305,-0.935,41.455,-0.785), (-5.545,0.16,-5.395,0.31), (-3.4,0.18,-3.25,0.33), (-2.06,0.24,-1.91,0.39), (-10.495,1.095,-10.345,1.245), (-0.96,1.235,-0.81,1.385), (9.34,1.235,9.49,1.385), (19.61,1.235,19.76,1.385), (29.89,1.235,30.04,1.385), (40.165,1.235,40.315,1.385), (45.065,1.26,45.215,1.41), (46.855,1.26,47.005,1.41), (-2.125,1.68,-1.975,1.83), (0.405,1.74,0.555,1.89), (10.68,1.74,10.83,1.89), (20.965,1.74,21.115,1.89), (31.245,1.74,31.395,1.89), (41.55,1.74,41.7,1.89), (-10.485,2.3,-10.335,2.45)])
R(line4, met2, [(-5.46,-1.4,40.375,-1.2), (-5.46,-1.275,-5.29,0.28), (-0.915,-1.275,-0.745,1.295), (9.355,-1.275,9.525,1.295), (19.655,-1.275,19.825,1.295), (29.925,-1.275,30.095,1.295), (40.205,-1.275,40.375,1.295), (-3.51,-0.995,-3.14,-0.735), (0.16,-0.995,0.53,-0.735), (10.45,-0.995,10.82,-0.735), (20.695,-0.995,21.065,-0.735), (30.97,-0.995,31.34,-0.735), (41.195,-0.99,41.565,-0.73), (-3.41,-0.84,-3.24,0.305), (0.255,-0.84,0.425,1.73), (10.55,-0.84,10.72,1.73), (20.79,-0.84,20.96,1.73), (31.075,-0.84,31.245,1.73), (41.395,-0.84,41.565,1.73), (-5.64,0.09,-5.28,0.38), (-3.52,0.105,-3.12,0.41), (-2.145,0.105,-1.805,0.505), (-2.14,0.25,-1.805,0.79), (-1.935,0.59,-1.56,0.79), (-1.73,0.59,-1.56,2.235), (-10.58,0.965,-10.22,1.36), (44.945,1.085,45.365,1.53), (46.715,1.105,47.165,1.525), (-1.06,1.165,-0.7,1.455), (9.215,1.165,9.575,1.455), (19.5,1.165,19.86,1.455), (29.775,1.165,30.135,1.455), (40.055,1.165,40.415,1.455), (46.715,1.44,46.885,2.64), (44.95,1.505,45.12,2.295), (-2.21,1.54,-1.88,1.965), (0.255,1.655,0.725,1.965), (10.55,1.655,11.02,1.965), (20.79,1.655,21.26,1.965), (31.08,1.655,31.55,1.965), (41.395,1.655,41.865,1.965), (-2.05,1.81,-1.88,2.64), (-10.125,1.935,-9.73,2.295), (-1.73,2.125,45.12,2.295), (-10.57,2.165,-9.73,2.545), (-2.05,2.47,46.885,2.64)])
R(line4, via2, [(-2.07,0.435,-1.87,0.635), (-10.52,1.06,-10.32,1.26), (-2.155,1.66,-1.955,1.86), (-10.035,2.005,-9.835,2.205)])
R(line4, met3, [(-2.21,0.31,-1.72,0.85), (-10.46,0.57,-1.72,0.87), (-10.46,0.57,-10.16,1.2), (-10.67,0.87,-10.155,1.425), (-9.835,1.17,-1.985,1.47), (-9.835,1.17,-9.535,1.67), (-2.275,1.39,-1.975,1.535), (-2.275,1.51,-1.785,2.05), (-9.835,1.62,-9.535,2.39), (-10.22,1.745,-9.665,2.26), (-10.225,2.125,-9.655,2.425)])
line4.add(gdstk.Reference(dly4, (-0.71,-0.315)))
line4.add(gdstk.Reference(dly4, (9.57,-0.315)))
line4.add(gdstk.Reference(dly4, (19.85,-0.315)))
line4.add(gdstk.Reference(dly4, (30.13,-0.315)))
line4.add(gdstk.Reference(dly_bias4, (-7.09,-0.315)))
line4.add(gdstk.Reference(dly4, (40.41,-0.315)))
line4.add(gdstk.Reference(dly_out4, (-11.73,-0.315), rotation=pi, x_reflection=True))
line4.add(gdstk.Reference(sky130_fd_sc_hs__diode_2, (49.09,-0.315)))
line4.add(gdstk.Reference(sky130_fd_sc_hs__tapvpwr, (-10.13,-0.315)))
line4.add(gdstk.Reference(sky130_fd_sc_hs__tapvpwr, (48.61,-0.315)))
line4.add(gdstk.Label('Y', (-14.54,1.615), layer=68, texttype=5))
line4.add(gdstk.Label('VCTRL', (-8.335,1.725), layer=68, texttype=5))
line4.add(gdstk.Label('VGND', (23.41,-0.185), layer=68, texttype=5))
line4.add(gdstk.Label('VPWR', (22.11,2.835), layer=68, texttype=5))
line4.add(gdstk.Label('VO_N_0', (4.35,1.36), layer=68, texttype=5))
line4.add(gdstk.Label('VO_N_1', (14.64,1.24), layer=68, texttype=5))
line4.add(gdstk.Label('VO_N_2', (24.965,1.24), layer=68, texttype=5))
line4.add(gdstk.Label('VO_N_3', (35.18,1.28), layer=68, texttype=5))
line4.add(gdstk.Label('VO_N_4', (45.615,1.255), layer=68, texttype=5))

lib.write_gds('line4.gds')
